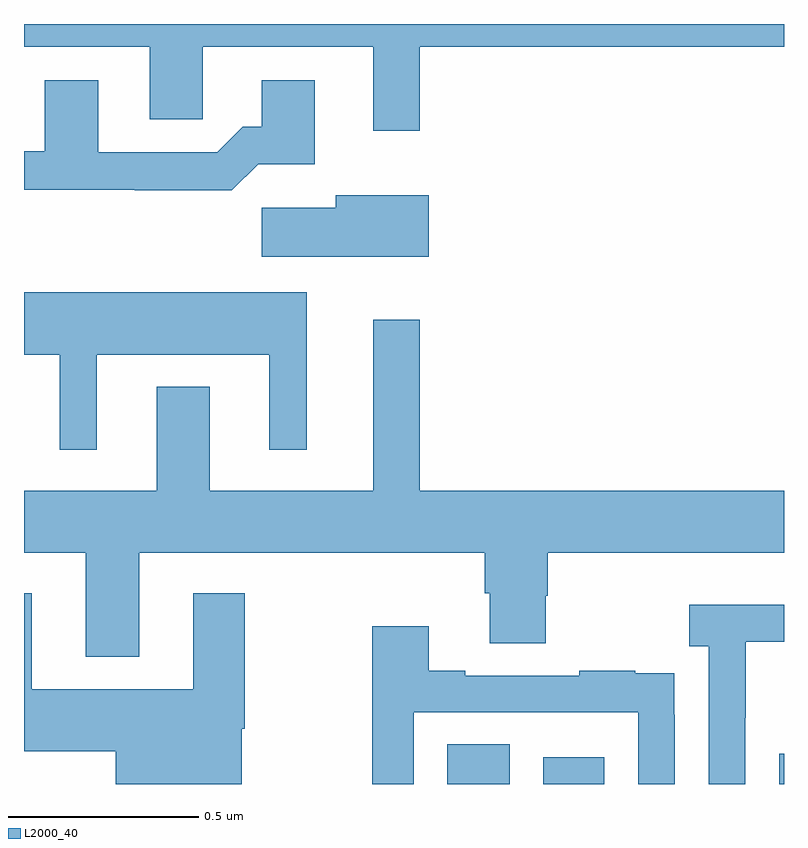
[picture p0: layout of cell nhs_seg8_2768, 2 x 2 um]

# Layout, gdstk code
import gdstk
lib = gdstk.Library(unit=1e-6, precision=1e-09)
def R(c, l, rs):  # rectangles x0, y0, x1, y1
    for r in rs: c.add(gdstk.rectangle(r[:2], r[2:], *l))
def P(c, l, *ps):  # polygons
    for p in ps: c.add(gdstk.Polygon(p, *l))
L2000_40 = (2000, 40)

nhs_seg8_2768 = lib.new_cell('nhs_seg8_2768')
R(nhs_seg8_2768, L2000_40, [(149.114,1107.9,149.278,1108.004), (149.366,1107.9,149.527,1107.97), (149.987,1107.9,150,1107.979)])
P(nhs_seg8_2768, L2000_40, [(149.041,1109.84),(150,1109.84),(150,1109.9),(148,1109.9),(148,1109.84),(148.331,1109.84),(148.331,1109.65),(148.47,1109.65),(148.47,1109.84),(148.919,1109.84),(148.919,1109.619),(149.041,1109.619)],
  [(148.616,1109.531),(148.765,1109.531),(148.765,1109.752),(148.625,1109.752),(148.625,1109.629),(148.576,1109.629),(148.509,1109.562),(148.195,1109.562),(148.195,1109.752),(148.055,1109.752),(148.055,1109.565),(148,1109.565),(148,1109.464),(148.291,1109.464),(148.291,1109.462),(148.547,1109.462)],
  [(149.065,1109.449),(148.82,1109.449),(148.82,1109.417),(148.626,1109.417),(148.626,1109.288),(149.065,1109.288)],
  [(148.192,1109.03),(148.646,1109.03),(148.646,1108.779),(148.744,1108.779),(148.744,1109.194),(148,1109.194),(148,1109.03),(148.094,1109.03),(148.094,1108.779),(148.192,1108.779)],
  [(148.303,1108.508),(149.213,1108.508),(149.213,1108.402),(149.225,1108.402),(149.225,1108.27),(149.373,1108.27),(149.373,1108.395),(149.378,1108.395),(149.378,1108.508),(150,1108.508),(150,1108.672),(149.041,1108.672),(149.041,1109.122),(148.919,1109.122),(148.919,1108.672),(148.489,1108.672),(148.489,1108.945),(148.349,1108.945),(148.349,1108.672),(148,1108.672),(148,1108.508),(148.163,1108.508),(148.163,1108.235),(148.303,1108.235)],
  [(148.573,1108.046),(148.581,1108.046),(148.581,1108.402),(148.445,1108.402),(148.445,1108.15),(148.021,1108.15),(148.021,1108.402),(148,1108.402),(148,1107.986),(148.241,1107.986),(148.241,1107.9),(148.573,1107.9)],
  [(149.898,1108.075),(149.899,1108.075),(149.899,1108.275),(150,1108.275),(150,1108.372),(149.751,1108.372),(149.751,1108.262),(149.802,1108.262),(149.802,1107.9),(149.898,1107.9)],
  [(149.025,1108.089),(149.616,1108.089),(149.616,1107.9),(149.712,1107.9),(149.712,1108.082),(149.711,1108.082),(149.711,1108.191),(149.609,1108.191),(149.609,1108.198),(149.461,1108.198),(149.461,1108.185),(149.161,1108.185),(149.161,1108.198),(149.065,1108.198),(149.065,1108.315),(148.917,1108.315),(148.917,1107.9),(149.025,1107.9)])

lib.write_gds('nhs_seg8_2768.gds')
